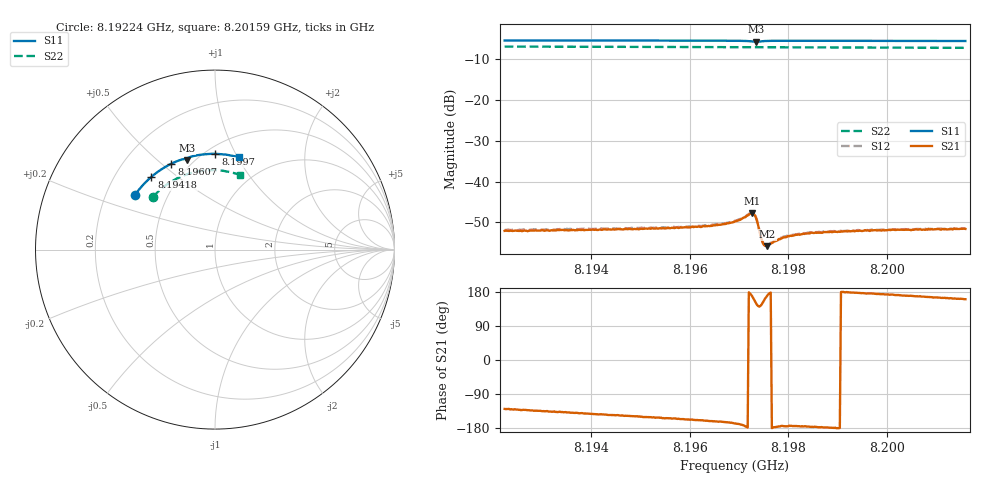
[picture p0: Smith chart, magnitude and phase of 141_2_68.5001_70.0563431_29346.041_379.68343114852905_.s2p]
#  HZ  S  RI  R  50.00
! Rohde & Schwarz Vector Network Analyzer
! Rohde-Schwarz,ZNB20-2Port,1311601062101988,3.16
! Created: UTC 3/20/2024, 5:10:01 PM
! freq[Hz]  re:S11  im:S11  re:S21  im:S21  re:S12  im:S12  re:S22  im:S22
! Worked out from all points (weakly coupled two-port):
!   401 points, 8.19224 GHz to 8.20159 GHz, reference 50 ohm
!   highest |S21| = -47.79 dB at 8.19727 GHz (marker M1); lowest = -55.9 dB at 8.19757 GHz (marker M2)
!   lowest |S11| = -5.7 dB at 8.19734 GHz (marker M3), VSWR 3.18, Z = 23 + j31.4 ohm
!   |S11| at or under -10 dB: nowhere
!   |S22| runs from -7.2 to -6.9 dB; largest |S21 - S12| = 0.00022
!   S11 on the Smith chart (normalised r, x): 8.19224 GHz: 0.32, +0.28; 8.19418 GHz: 0.36, +0.41; 8.19607 GHz: 0.40, +0.54; 8.1997 GHz: 0.56, +0.83; 8.20159 GHz: 0.71, +1.01
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8.192236e9  -0.4458 0.304  -0.00156 -0.00193  -0.00166 -0.00192  -0.3447 0.295
8.193804e9  -0.374 0.3878  -0.00196 -0.00164  -0.00209 -0.00159  -0.2802 0.3541
8.194178e9  -0.3543 0.4053  -0.00208 -0.00153  -0.00217 -0.00148  -0.2633 0.3661
8.195371e9  -0.2863 0.4548  -0.00235 -0.00126  -0.00249 -0.00115  -0.2054 0.3995
8.196073e9  -0.2426 0.4789  -0.00256 -0.00103  -0.00265 -0.000944  -0.1692 0.4149
8.196611e9  -0.2069 0.4944  -0.00281 -0.000888  -0.0029 -0.000809  -0.1404 0.4246
8.196915e9  -0.1852 0.5018  -0.00318 -0.000714  -0.00325 -0.0006  -0.124 0.4292
8.197219e9  -0.16 0.5033  -0.004 0.000321  -0.00405 0.000468  -0.1071 0.433
8.197265e9  -0.1566 0.5008  -0.00398 0.000868  -0.00401 0.00104  -0.1046 0.4334
8.197312e9  -0.1559 0.4978  -0.0036 0.00153  -0.00359 0.00172  -0.102 0.4339
8.197336e9  -0.1566 0.4969  -0.0032 0.00178  -0.0032 0.00192  -0.1007 0.4341
8.197359e9  -0.1578 0.4967  -0.00275 0.00186  -0.00275 0.00201  -0.0995 0.4344
8.197453e9  -0.1585 0.5032  -0.00162 0.0011  -0.00159 0.00117  -0.0946 0.4355
8.197476e9  -0.1575 0.505  -0.00156 0.000868  -0.00156 0.000957  -0.0933 0.4358
8.197523e9  -0.1545 0.5081  -0.00155 0.000508  -0.00154 0.000583  -0.0906 0.4364
8.19757e9  -0.151 0.5105  -0.00159 0.00028  -0.00161 0.000355  -0.088 0.4368
8.197803e9  -0.1332 0.5177  -0.00196 -0.00016  -0.002 -7.97e-05  -0.0749 0.439
8.197944e9  -0.1228 0.5205  -0.00206 -0.000182  -0.0021 -9.4e-05  -0.0669 0.4401
8.198482e9  -0.0844 0.5279  -0.00236 -0.000151  -0.00234 -6.48e-05  -0.0367 0.4426
8.199698e9  0.00214 0.5335  -0.00251 0.000202  -0.00256 0.000337  0.0324 0.4406
8.200049e9  0.0269 0.5323  -0.00253 0.000345  -0.00252 0.000436  0.0523 0.4381
8.201593e9  0.1343 0.5139  -0.00247 0.000878  -0.00247 0.000958  0.1374 0.4161
